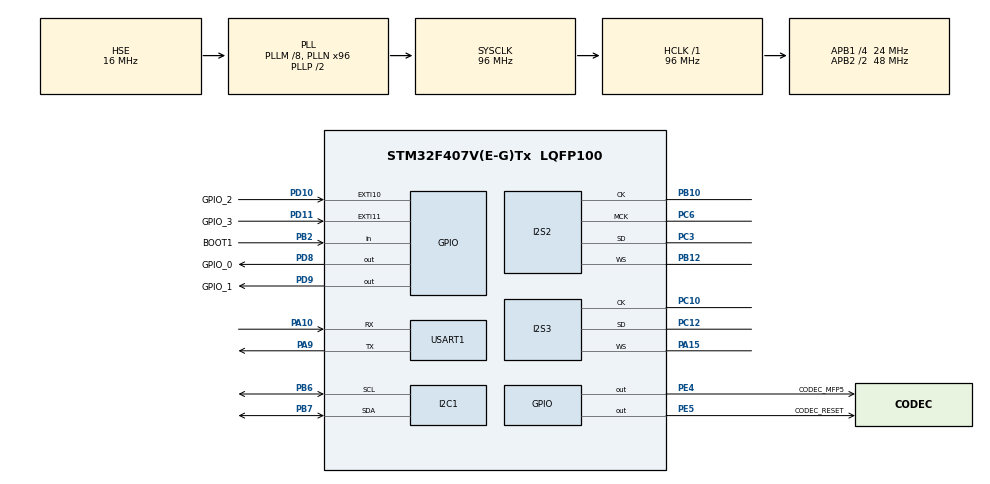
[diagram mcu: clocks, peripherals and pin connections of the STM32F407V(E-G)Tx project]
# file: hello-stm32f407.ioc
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Dma.Request0=SPI2_TX
Dma.Request1=SPI3_RX
Dma.SPI2_TX.0.Direction=DMA_MEMORY_TO_PERIPH
Dma.SPI2_TX.0.FIFOMode=DMA_FIFOMODE_DISABLE
Dma.SPI2_TX.0.Instance=DMA1_Stream4
Dma.SPI2_TX.0.MemDataAlignment=DMA_MDATAALIGN_HALFWORD
Dma.SPI2_TX.0.MemInc=DMA_MINC_ENABLE
Dma.SPI2_TX.0.Mode=DMA_CIRCULAR
Dma.SPI2_TX.0.PeriphDataAlignment=DMA_PDATAALIGN_HALFWORD
Dma.SPI2_TX.0.PeriphInc=DMA_PINC_DISABLE
Dma.SPI2_TX.0.Priority=DMA_PRIORITY_LOW
Dma.SPI3_RX.1.Direction=DMA_PERIPH_TO_MEMORY
Dma.SPI3_RX.1.FIFOMode=DMA_FIFOMODE_DISABLE
Dma.SPI3_RX.1.Instance=DMA1_Stream0
Dma.SPI3_RX.1.MemDataAlignment=DMA_MDATAALIGN_HALFWORD
Dma.SPI3_RX.1.MemInc=DMA_MINC_ENABLE
Dma.SPI3_RX.1.Mode=DMA_CIRCULAR
Dma.SPI3_RX.1.PeriphDataAlignment=DMA_PDATAALIGN_HALFWORD
Dma.SPI3_RX.1.PeriphInc=DMA_PINC_DISABLE
Dma.SPI3_RX.1.Priority=DMA_PRIORITY_LOW
I2S2.AudioFreq=I2S_AUDIOFREQ_44K
I2S2.DataFormat=I2S_DATAFORMAT_32B
I2S2.ErrorAudioFreq=6.53 %
I2S2.FullDuplexMode=I2S_FULLDUPLEXMODE_DISABLE
I2S2.Instance=SPI$Index
I2S2.RealAudioFreq=46.875 KHz
I2S2.VirtualMode=I2S_MODE_MASTER
I2S3.AudioFreq=I2S_AUDIOFREQ_44K
I2S3.CPOL=I2S_CPOL_LOW
I2S3.DataFormat=I2S_DATAFORMAT_32B
I2S3.ErrorAudioFreq=-1.66 %
I2S3.FullDuplexMode=I2S_FULLDUPLEXMODE_DISABLE
I2S3.Instance=SPI$Index
I2S3.Mode=I2S_MODE_SLAVE_RX
I2S3.RealAudioFreq=43.269 KHz
I2S3.VirtualMode=I2S_MODE_SLAVE
Mcu.Family=STM32F4
Mcu.Name=STM32F407V(E-G)Tx
Mcu.Package=LQFP100
NVIC.DMA1_Stream0_IRQn=true\:0\:0\:false\:false\:true\:false\:true
NVIC.DMA1_Stream4_IRQn=true\:0\:0\:false\:false\:true\:false\:true
NVIC.EXTI15_10_IRQn=true\:0\:0\:false\:false\:true\:true\:true
NVIC.PriorityGroup=NVIC_PRIORITYGROUP_4
NVIC.USART1_IRQn=true\:0\:0\:false\:false\:true\:true\:true
PA10.Mode=Asynchronous
PA10.Signal=USART1_RX
PA13.Mode=Serial_Wire
PA13.Signal=SYS_JTMS-SWDIO
PA14.Mode=Serial_Wire
PA14.Signal=SYS_JTCK-SWCLK
PA15.Mode=Half_Duplex_Slave
PA15.Signal=I2S3_WS
PA9.Mode=Asynchronous
PA9.Signal=USART1_TX
PB10.Mode=Half_Duplex_Master
PB10.Signal=I2S2_CK
PB12.Mode=Half_Duplex_Master
PB12.Signal=I2S2_WS
PB2.GPIO_Label=BOOT1
PB2.Signal=GPIO_Input
PB6.Mode=I2C
PB6.Signal=I2C1_SCL
PB7.Mode=I2C
PB7.Signal=I2C1_SDA
PC10.Mode=Half_Duplex_Slave
PC10.Signal=I2S3_CK
PC12.Mode=Half_Duplex_Slave
PC12.Signal=I2S3_SD
PC3.Mode=Half_Duplex_Master
PC3.Signal=I2S2_SD
PC6.Mode=Master_Clock_Activated
PC6.Signal=I2S2_MCK
PD10.GPIO_Label=GPIO_2
PD10.GPIO_ModeDefaultEXTI=GPIO_MODE_IT_FALLING
PD10.GPIO_PuPd=GPIO_PULLUP
PD10.Signal=GPXTI10
PD11.GPIO_Label=GPIO_3
PD11.GPIO_ModeDefaultEXTI=GPIO_MODE_IT_FALLING
PD11.GPIO_PuPd=GPIO_PULLUP
PD11.Signal=GPXTI11
PD8.GPIO_Label=GPIO_0
PD8.Signal=GPIO_Output
PD9.GPIO_Label=GPIO_1
PD9.Signal=GPIO_Output
PE4.GPIO_Label=CODEC_MFP5
PE4.Signal=GPIO_Output
PE5.GPIO_Label=CODEC_RESET
PE5.GPIO_PuPd=GPIO_NOPULL
PE5.Signal=GPIO_Output
PH0-OSC_IN.Mode=HSE-External-Oscillator
PH0-OSC_IN.Signal=RCC_OSC_IN
PH1-OSC_OUT.Mode=HSE-External-Oscillator
PH1-OSC_OUT.Signal=RCC_OSC_OUT
ProjectManager.HeapSize=0x200
ProjectManager.StackSize=0x400
ProjectManager.TargetToolchain=STM32CubeIDE
RCC.48MHZClocksFreq_Value=48000000
RCC.AHBFreq_Value=96000000
RCC.APB1CLKDivider=RCC_HCLK_DIV4
RCC.APB1Freq_Value=24000000
RCC.APB1TimFreq_Value=48000000
RCC.APB2CLKDivider=RCC_HCLK_DIV2
RCC.APB2Freq_Value=48000000
RCC.APB2TimFreq_Value=96000000
RCC.CortexFreq_Value=96000000
RCC.HCLKFreq_Value=96000000
RCC.HSE_VALUE=16000000
RCC.HSI_VALUE=16000000
RCC.LSE_VALUE=32768
RCC.PLLI2SN=72
RCC.PLLM=8
RCC.PLLN=96
RCC.PLLSourceVirtual=RCC_PLLSOURCE_HSE
RCC.SYSCLKFreq_VALUE=96000000
RCC.SYSCLKSource=RCC_SYSCLKSOURCE_PLLCLK
RCC.VCOOutputFreq_Value=192000000
USART1.VirtualMode=VM_ASYNC
board=custom

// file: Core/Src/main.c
/* USER CODE BEGIN Header */
/**
  ******************************************************************************
  * @file           : main.c
  * @brief          : Main program body
  ******************************************************************************
  * @attention
  *
  * <h2><center>&copy; Copyright (c) 2020 STMicroelectronics.
  * All rights reserved.</center></h2>
  *
  * This software component is licensed by ST under BSD 3-Clause license,
  * the "License"; You may not use this file except in compliance with the
  * License. You may obtain a copy of the License at:
  *                        opensource.org/licenses/BSD-3-Clause
  *
  ******************************************************************************
  */
/* USER CODE END Header */
#include "main.h"

/* USER CODE BEGIN Includes */
#include <math.h>
#include <stdio.h>
#include <stdint.h>
#include <stdlib.h>

#define ARM_MATH_CM4
#include "arm_math.h"

/* USER CODE END Includes */

I2C_HandleTypeDef hi2c1;

I2S_HandleTypeDef hi2s2;
I2S_HandleTypeDef hi2s3;
DMA_HandleTypeDef hdma_spi2_tx;
DMA_HandleTypeDef hdma_spi3_rx;

UART_HandleTypeDef huart1;

void SystemClock_Config(void);
static void MX_GPIO_Init(void);
static void MX_DMA_Init(void);
static void MX_I2C1_Init(void);
static void MX_I2S2_Init(void);
static void MX_USART1_UART_Init(void);
static void MX_I2S3_Init(void);

/* USER CODE BEGIN 0 */

enum Mode {
	// Same synthesizer fed into both outputs, inputs ignored, no filter
	TEST0a,
	// Two synthesizers fed into both outputs, inputs ignored, no filter
	TEST0b,
	// Same synthesizer fed into filters left and right
	TEST1,
	// Left input through filters and fed to left/right outputs
	TEST2,
	// Left input modulated by software quadrature LO and then through filters and
	// fed to left/right outputs (Weaver Test)
	TEST3,
	TX,
	RX
};

enum Mode mode = TEST2;

// COS synthesizer
// Largest value for a 32-bit signed number
float amp = 0x7fffffff;
static float gain = 1.0;
// Sample frequency
static const int fs = 44100;

// ----- cos synthesizer -----------------------------------------------------
//
// Size of look-up-table
static const int lut_size = 256;
static float lut[256];
// The phase step through the synthesis LUT on each cycle, based on frequency
static float lut_phase_step = 0;
// Tracking phase throughout 0->2PI
static float lut_phase_I = 0;
static float lut_phase_Q = 0;
static const float pi = 3.1415926;
static const float two_pi = 2.0 * 3.1415926;
static float lut_size_by_two_pi;

// Populate synthesizer LUT
static void setupSynth() {
	lut_size_by_two_pi = (float)lut_size / two_pi;
	for (int i = 0; i < lut_size; i++) {
		float t = (float)i / (float)lut_size;
		// TODO: Understand the overflow issue here
		float c = cos(t * two_pi) * 0.95f;
		lut[i] = c;
	}
}

// Sets the frequency of the internal cos() synthesizer
static void setSynthFreq(int freqHz) {
	lut_phase_step = ((float)freqHz / (float)fs) * two_pi;
	lut_phase_Q = pi / 2.0;
	// Q lags I by 90 degrees
	lut_phase_I = 0;
}

// Takes a phase from 0->2PI and converts it to index from 0->lut_size
static int convertPhaseToIndex(float phase) {
	int i = phase * lut_size_by_two_pi;
	return i;
}

static float getSynthI() {
	return lut[convertPhaseToIndex(lut_phase_I)];
}

static float getSynthQ() {
	return lut[convertPhaseToIndex(lut_phase_Q)];
}

// Advances the synthesizer to the next value, handling wrap-around as needed
static void incrementSynth() {
	lut_phase_I += lut_phase_step;
	lut_phase_Q += lut_phase_step;
	// Handle wrap-arounds
	if (lut_phase_I >= two_pi) {
		lut_phase_I -= two_pi;
	}
	if (lut_phase_Q >= two_pi) {
		lut_phase_Q -= two_pi;
	}
}

// Balance between I/Q.  This was determined experimentally.
volatile float balanceAdjust = 1.0;
// Phase adjust (I/Q leakage).  This was determined experimentally
volatile float phaseAdjust = -0.000;
//
volatile int offsetAdjust = 0;

#define FILTER_TAP_NUM 101
// This is the number of samples that we process in each DMA cycle
#define FILTER_BLOCK_SIZE 256
static const int blockSize = FILTER_BLOCK_SIZE;

extern float hilbert_plus_45_filter_taps[FILTER_TAP_NUM];
extern float hilbert_minus_45_filter_taps[FILTER_TAP_NUM];
extern float lpf_filter_taps[FILTER_TAP_NUM];

static float filter_state_I[FILTER_TAP_NUM + FILTER_BLOCK_SIZE - 1];
static float filter_state_Q[FILTER_TAP_NUM + FILTER_BLOCK_SIZE - 1];

static arm_fir_instance_f32 filter_I;
static arm_fir_instance_f32 filter_Q;
static arm_rfft_fast_instance_f32 fft_0;

// This where the DMA happens.  We multiply by 8 to address:
// - The fact that we have left and right data moving through at the same time
// - Each sample takes up two 16-bit words
// - There is space for two blocks.  The DMA works on one block while
//   the other block is being processed, and then we flip to the other side.
//
static volatile uint16_t out_data[FILTER_BLOCK_SIZE * 8];
static volatile uint16_t in_data[FILTER_BLOCK_SIZE * 8];

// This keeps track of which output block is currently *not* being
// transferred to the I2S interface.  Buffer filling should happen
// on this block.
static volatile int outBlockFree = 0;

volatile uint32_t maxBucket;
volatile float maxFreq;
volatile float maxMag;

volatile uint32_t max2Bucket;
volatile float max2Freq;
volatile float max2Mag;

volatile int32_t maxInputISig;
volatile int32_t maxInputQSig;

volatile int32_t maxOutputISig;
volatile int32_t maxOutputQSig;

#define FFT_SIZE FILTER_BLOCK_SIZE
const int fftSize = FFT_SIZE;
volatile float mags[FFT_SIZE / 2 - 1];

// This reads half of the inbound data from the DMA buffer.  This is
// called by the DMA interrupt at the half-way point through the
// entire DMA buffer.
static void moveIn(int inBlock, int outBlockFree) {

	int in_ptr;
	if (inBlock == 0) {
		in_ptr = 0;
	} else {
		in_ptr = blockSize * 4;
	}

	int out_ptr;
	if (outBlockFree == 0) {
		out_ptr = 0;
	} else {
		out_ptr = blockSize * 4;
	}

	int32_t sampleI, sampleQ;
	uint16_t hi;
	uint16_t lo;
	float filterInI[FILTER_BLOCK_SIZE];
	float filterOutI[FILTER_BLOCK_SIZE];
	float filterInQ[FILTER_BLOCK_SIZE];
	float filterOutQ[FILTER_BLOCK_SIZE];
	float fftIn[FILTER_BLOCK_SIZE];
	float fftOut[FILTER_BLOCK_SIZE];

	for (int i = 0; i < blockSize; i++) {

		uint16_t s;

		// Read the left channel
		// Load the high end of the sample into the high end of the 32-bit number
		s = in_data[in_ptr++];
		sampleI = s;
		// Shift up
		sampleI = sampleI << 16;
		// Add low end of sample
		s = in_data[in_ptr++];
		sampleI |= s;

		if (abs(sampleI) > maxInputISig) {
			maxInputISig = abs(sampleI);
		}

		// Read the right channel
		// Load the high end of the sample into the high end of the 32-bit number
		s = in_data[in_ptr++];
		sampleQ = s;
		// Shift up
		sampleQ = sampleQ << 16;
		// Add low end of sample
		s = in_data[in_ptr++];
		sampleQ |= s;

		if (abs(sampleQ) > maxInputQSig) {
			maxInputQSig = abs(sampleQ);
		}

		fftIn[i] = (float)sampleI;

		if (mode == TEST0a) {
			float a = getSynthI();
			// Feed the synthesized wave into the output
			filterOutI[i] = amp * a;
			filterOutQ[i] = amp * a;
		} else if (mode == TEST0b) {
			// Feed the synthesized wave into the output
			filterOutI[i] = amp * getSynthI();
			filterOutQ[i] = amp * getSynthQ();
		} else if (mode == TEST1) {
			// Feed the synthesized wave unto both filters
			filterInI[i] = amp * getSynthI();
			filterInQ[i] = amp * getSynthI();
		} else if (mode == TEST2) {
			// Feed the input wave unto both filters
			// NOTE: Left channel being fed to both filters!
			filterInI[i] = sampleI;
			filterInQ[i] = sampleI;
		} else if (mode == TEST3) {
			// Input sample modulated by software LO
			filterInI[i] = sampleI * getSynthI();
			filterInQ[i] = sampleI * getSynthQ();
		} else if (mode == RX) {
			// Allow a small amount of the Q signal into the I for phase adjust
			filterInI[i] = (float)sampleI + (float)sampleQ * phaseAdjust;
			filterInQ[i] = (float)sampleQ + (float)sampleI * phaseAdjust;
		} else if (mode == TX) {
			// Multiply I/Q by the first stage of modulation and load into the LPF
			// SAME INPUT BEING USED ON BOTH SIDES
			filterInI[i] = (float)sampleI * getSynthI();
			filterInQ[i] = (float)sampleI * getSynthQ();
		}

		// Move the modulation synthesizer forward
		incrementSynth();
	}

	// Run the FFT.  This creates a result with fftSize / 2 complex values
	// (assuming spectral symmetry)
	arm_rfft_fast_f32(&fft_0, fftIn, fftOut, 0);
	// Get the magnitude data.  Note that the first pair of values from
	// the FFT is ignored (real DC, real N/2)
	arm_cmplx_mag_f32(fftOut + 2, mags, fftSize / 2 - 1);

	// Get the largest two buckets
	maxBucket = 0;
	maxMag = 0;
	maxFreq = 0;
	max2Bucket = 0;
	max2Mag = 0;
	max2Freq = 0;

	for (int i = 0; i < fftSize / 2 - 1; i++) {
		if (mags[i] >= maxMag) {
			// Move previous max down to second place
			max2Mag = maxMag;
			max2Bucket = maxBucket;
			// Track the new first place			}
			maxMag = mags[i];
			maxBucket = i;
		} else if (mags[i] >= max2Mag) {
			max2Mag = mags[i];
			max2Bucket = i;
		}
	}

	float resolution = (float)fs / (float)fftSize;
	maxFreq = (float)(maxBucket + 1) * resolution;
	max2Freq = (float)(max2Bucket + 1) * resolution;

	// Apply the FIR filter
	if (mode != TEST0a && mode != TEST0b) {
		arm_fir_f32(&filter_I, filterInI, filterOutI, blockSize);
		arm_fir_f32(&filter_Q, filterInQ, filterOutQ, blockSize);
	}

	// Move things into the DMA outbound area
	for (int i = 0; i < blockSize; i++) {

		if (mode == TEST0a || mode == TEST0b) {
			sampleI = filterOutI[i];
			sampleQ = filterOutQ[i];
		} else if (mode == TEST1 || mode == TEST2 || mode == TEST3) {
			sampleI = (balanceAdjust * filterOutI[i]) + (phaseAdjust * filterOutQ[i]);
			sampleQ = filterOutQ[i] + (phaseAdjust * filterOutI[i]);
		} else if (mode == RX) {
			// This looks like +USB (LSB is canceled)
			sampleI = (0.5 * balanceAdjust * filterOutI[i]) - (0.5 * filterOutQ[i]);
			sampleQ = sampleI;
		} else if (mode == TX) {
			// Inject a small amount of Q into the I channel for phase adjustment
			sampleI = (balanceAdjust * filterOutI[i]) + (phaseAdjust * filterOutQ[i]);
			// Inject a small amount of I into the Q channel for phase adjustment
			sampleQ = (filterOutQ[i]) + (phaseAdjust * filterOutI[i]);
		}

		// Transfer filtered sample to left output
		hi = (sampleI >> 16) & 0xffff;
		lo = (sampleI & 0xffff);
		out_data[out_ptr++] = hi;
		out_data[out_ptr++] = lo;

		if (abs(sampleI) > maxOutputISig) {
			maxOutputISig = abs(sampleI);
		}

		// Transfer delayed data to right output
		hi = (sampleQ >> 16) & 0xffff;
		lo = (sampleQ & 0xffff);
		out_data[out_ptr++] = hi;
		out_data[out_ptr++] = lo;

		if (abs(sampleQ) > maxOutputQSig) {
			maxOutputQSig = abs(sampleQ);
		}
	}
}

// Called at the half-way point.  First half of the DMA area is available
// for updating after this call.
void HAL_I2S_TxHalfCpltCallback (I2S_HandleTypeDef * hi2s) {
	outBlockFree = 0;
}

// Called at the end point.  Second half of the DMA area if available
// for updating after this call
void HAL_I2S_TxCpltCallback (I2S_HandleTypeDef * hi2s) {
	outBlockFree = 1;
}

// Called at the half-way point.  Fills in the first half of the DMA area.
void HAL_I2S_RxHalfCpltCallback (I2S_HandleTypeDef * hi2s) {
	moveIn(0, outBlockFree);
}

// Called at the end point.  Fills in the second half of the DMA area.
void HAL_I2S_RxCpltCallback (I2S_HandleTypeDef * hi2s) {
	moveIn(1, outBlockFree);
}

HAL_StatusTypeDef writeCodec(uint8_t addr, uint8_t data) {
	uint8_t devAddr = 0x30;
	HAL_StatusTypeDef status = HAL_I2C_Mem_Write(&hi2c1, (uint16_t)(devAddr), addr, 1, &data, 1, 10);
	if (status != HAL_OK) {
		printf("Error on I2C write\r\n");
	}
	return status;
}

uint8_t readCodec(uint8_t addr) {
	uint8_t devAddr = 0x30;
	uint8_t data = 0;
	HAL_I2C_Mem_Read(&hi2c1, (uint16_t)(devAddr), addr, 1, &data, 1, 10);
	return data;
}

extern void CppMain_setup();

#define WS_Pin GPIO_PIN_15
#define WS_Pin_Port GPIOA

/* USER CODE END 0 */

int main(void)
{

  /* MCU Configuration--------------------------------------------------------*/

  /* Reset of all peripherals, Initializes the Flash interface and the Systick. */
   HAL_Init();

  /* Configure the system clock */
  SystemClock_Config();

  /* Initialize all configured peripherals */
  MX_GPIO_Init();
  MX_DMA_Init();
  MX_I2C1_Init();
  MX_I2S2_Init();
  MX_USART1_UART_Init();
  MX_I2S3_Init();
  /* USER CODE BEGIN 2 */

	// Initialize the filters
//	arm_fir_init_f32(&filter_I, FILTER_TAP_NUM, lpf_filter_taps, filter_state_I, FILTER_BLOCK_SIZE);
//	arm_fir_init_f32(&filter_Q, FILTER_TAP_NUM, lpf_filter_taps, filter_state_Q, FILTER_BLOCK_SIZE);
	arm_fir_init_f32(&filter_I, FILTER_TAP_NUM, hilbert_plus_45_filter_taps, filter_state_I, FILTER_BLOCK_SIZE);
	arm_fir_init_f32(&filter_Q, FILTER_TAP_NUM, hilbert_minus_45_filter_taps, filter_state_Q, FILTER_BLOCK_SIZE);

	arm_rfft_fast_init_f32(&fft_0, 256);

	HAL_StatusTypeDef status;
	uint8_t devAddr = 0x60 << 1;
	uint8_t addr = 0;
	uint8_t data = 0;

	// ----- SI5351 INIT --------------------------------------------------
	// Make sure the device is alive
	status = HAL_I2C_IsDeviceReady(&hi2c1, (uint16_t)(devAddr), 2, 2);
	if (status != HAL_OK) // HAL_ERROR or HAL_BUSY or HAL_TIMEOUT
		printf("Problem with Si5351\r\n");

	CppMain_setup();

	setupSynth();
	setSynthFreq(2000);

	// ----- CODEC INIT ---------------------------------------------------
	// Hardware reset the CODEC
	HAL_GPIO_WritePin(CODEC_RESET_GPIO_Port, CODEC_RESET_Pin, 1);
	HAL_GPIO_WritePin(CODEC_RESET_GPIO_Port, CODEC_RESET_Pin, 0);
	HAL_GPIO_WritePin(CODEC_RESET_GPIO_Port, CODEC_RESET_Pin, 1);

	HAL_Delay(2);

	// NOTE: TLV320AIC3204 uses standard 7-bit convention (no shifting needed)
	devAddr = 0x30;
	addr = 0;
	data = 0;

	// Make sure the device is alive
	status = HAL_I2C_IsDeviceReady(&hi2c1, (uint16_t)(devAddr), 2, 2);
	if (status != HAL_OK) // HAL_ERROR or HAL_BUSY or HAL_TIMEOUT
		printf("Problem with CODEC\r\n");

	// Select page 0
	writeCodec(0, 0);
	// Software reset
	writeCodec(1, 1);

	HAL_Delay(2);

	// Select page 0
	writeCodec(0, 0);
  	// Configure MFP5 as GPIO input
	writeCodec(52, 0b00001000);

	// ===== Sanity check on CODEC =====
  	// Set GPIO to HI
	HAL_GPIO_WritePin(CODEC_MFP5_GPIO_Port, CODEC_MFP5_Pin, 1);
	// Read back
	addr = 52;
	data = 0;
  	status = HAL_I2C_Mem_Read(&hi2c1, (uint16_t)(devAddr), addr, 1, &data, 1, 100);
  	if (data != 10)
  		printf("Problem\r\n");
  	// Set GPIO to LO
	HAL_GPIO_WritePin(CODEC_MFP5_GPIO_Port, CODEC_MFP5_Pin, 0);
	// Read back
  	status = HAL_I2C_Mem_Read(&hi2c1, (uint16_t)(devAddr), addr, 1, &data, 1, 100);
  	if (data != 8)
  		printf("Problem\r\n");

  	int receiveMode = 0;

  	// ===== DAC SETUP ======
	// Select page 0
	writeCodec(0x00, 0x00);
	// Clock settings register 1, Configure source of CODEC_CLKIN=MCLK
	writeCodec(0x04, 0b00000000);
	// PLL is powered down (not used)
	writeCodec(0x05, 0b00000000);

	// Setup NDAC (on, divide by 1)
	writeCodec(0x0b, 0x81);
	// Setup MDAC (on, divide by 2)
	writeCodec(0x0c, 0x82);
	// Set OSR of DAC to 128
	writeCodec(0x0d, 0x00);
	writeCodec(0x0e, 0x80);

	// Setup NADC (on, divide by 1) [Pg. 99]
	writeCodec(0x12, 0x81);
	// Setup MADC (on, divide by 2) [Pg. 99]
	writeCodec(0x13, 0x82);
	// Set OSR of ADC to 128
	writeCodec(0x14, 0b10000000);

	// Audio interface.  I2S mode, word length=32, BCLK is input, WCLK is input, DOUT not HI-Z
	writeCodec(0x1b, 0b00110000);
	// Data offset by 0 BCLK (default)
	writeCodec(0x1c, 0b00000000);
	// Default bit clock polarity, BDIV_CLKIN=DAC_CLK
	writeCodec(0x1d, 0b00000000);
	// BCLK-N divider powered down
	writeCodec(0x1e, 0b00000000);
	// Audio interface setting register 5 -
	writeCodec(0x20, 0x00);
	// DOUT/MFP2 Control [Pg. 108]
	writeCodec(0x35, 0b00010010);
	// Setup DAC mode = PRB_P8, which is:
	//   Interpolation filter B
	//   Stereo
	//   No IIR
	//   4 biquads
	//   DRC on
	//   3D off
	//   No beep generation
	writeCodec(0x3c, 0b00001000);
	// Setup ADC mode.  Use PRB_R2 (First-Order IIR, AGC, Filter A, 6 biquads)
	writeCodec(0x3d, 0b00000010);

	// Select page 1
	writeCodec(0x00, 0x01);
	// Disable weak connection of AVdd with DVdd in presence of external AVdd supply
	writeCodec(0x01, 0b00001000);
	// DVdd/AVdd LDO nominally 1.72V, analog blocks enabled, Avdd LDO powered up
	writeCodec(0x02, 0b00000001);
	// Analog input quick-charging configuration  Input power-up time is 6.4ms (for ADC)
	writeCodec(0x47, 0b00110010);
	// Set MicPGA startup delay to 3.1ms
	writeCodec(0x47, 0x32);
	// Reference power-up configuration register.  Reference powers up in 40ms when
	// analog blocks are on.
	writeCodec(0x7b, 0b00000001);
	// ADC Power Tune PTM_R4
	writeCodec(0x3d, 0x00);

	// Select page 1
	writeCodec(0x00, 0x01);
	// Soft routing 0, De-pop: 5 time constants, 6k resistance
	writeCodec(0x14, 0b00100101);
	if (receiveMode) {
		// Route LDAC/RDAC to HPL/HPR
		writeCodec(0x0c, 0b00001000);
		writeCodec(0x0d, 0b00001000);
		// Nothing routed to line out
		writeCodec(0x0e, 0b00000000);
		writeCodec(0x0f, 0b00000000);

	} else {
		// Not routing DAC to HPL/HPR
		writeCodec(0x0c, 0b00000000);
		writeCodec(0x0d, 0b00000000);
		// Route DAC to line out
		writeCodec(0x0e, 0b00001000);
		writeCodec(0x0f, 0b00001000);
	}
	// Set the DAC PTM mode to PTM_P3/P4
	writeCodec(0x03, 0x00);
	writeCodec(0x04, 0x00);
	if (receiveMode) {
		// Unmute HPL/HPR driver (0b01), set 0dB gain
		// Here is a level control that is not supposed to be used as
		// the regular volume control.
		// Range: 0b111010 -> 0b011101
		writeCodec(0x10, 0b00111010);
		writeCodec(0x11, 0b00111010);
	} else {
		// Unmute LOL/LOR driver, set gain
		writeCodec(0x12, 0b00000000);
		writeCodec(0x13, 0b00000000);
	}
  	// Power configuration.  Output of HPL/HPR powered from LDOIN, range is 1.8V to 3.6V
	writeCodec(0x0a, 0b00000011);
	// Overcurrent detection on, debounced = 64ms, driver shut down
	writeCodec(0x0b, 0b00011001);
	if (receiveMode) {
		// Power up the HPL/HPR, power down LOL/LOR
		writeCodec(0x09, 0b00110000);
	} else {
		// No power to the HPL/HPR, power up LOL/LOR
		writeCodec(0x09, 0b00001100);
	}

	HAL_Delay(2500);

  	// Select page 0
	writeCodec(0x00, 0x00);
	// [VOLUME CONTROL]
	// Left DAC digital volume
	writeCodec(0x41, 0);
	// [VOLUME CONTROL]
	// Right DAC digital volume
	writeCodec(0x42, 0);
  	// Power LDAC/RDAC, soft-stepping disabled
	writeCodec(0x3f, 0b11010110);
	// Unmute
	writeCodec(0x40, 0b00000000);

	// Configure ADC [Pg. 90 for example]
  	// Select page 1
	writeCodec(0x00, 0x01);
	if (receiveMode) {
		// Route IN1L to left Mic PGA with 20K input impedance [Pg. 135]
		writeCodec(0x34, 0x80);
		// Route IN1R to right Mic PGA with input impedance of 20K [Pg. 135]
		writeCodec(0x37, 0x80);
	} else {
		// Route IN2L to left Mic PGA with 20K input impedance [Pg. 135]
		writeCodec(0x34, 0b00100000);
		// TURN OFF INPUT:
		//writeCodec(0x34, 0b00000000);
		// Nothing rounted to right PGA
		writeCodec(0x37, 0x00);
	}
	// Route Common Mode to LEFT_M with impedance of 20K
	writeCodec(0x36, 0x80);
	// Route Common Mode to RIGHT_M with impedance of 20K
	writeCodec(0x39, 0x80);

	// Unmute left MICPGA, set gain to 6dB (given that input impedance is 20k => 0dB)
	// [Pg. 137]
	writeCodec(0x3b, 0x0c);
	// Unmute right MICPGA, set gain to 6dB (given that input impedance is 20k => 0dB)
	// [Pg. 137]
	writeCodec(0x3c, 0x0c);

	// Page 0
	writeCodec(0x00, 0x00);
	// Power up left and right ADC channels, digital mic off, 1 gain step per ADC clock [Pg. 115]
	writeCodec(0x51, 0b11000000);
	// Unmute left and right digital volume controls.  ADC fine gain adjust = 0dB [Pg. 115]
	writeCodec(0x52, 0b00000000);

	// ADC channel volume control - left (should be 0dB) [Pg. 116]
	writeCodec(0x53, 0b00100110);
	// ADC channel volume control - right (should be 0dB)
	writeCodec(0x54, 0b00100110);

	// *******************************************
	// TEMPORARY: Turn on loopback.  This routes ADC output to DAC input. [Pg. 101]
	//writeCodec(0x00, 0x00);
	//data = readCodec(0x1d);
	//data |= 0b00010000;
	//writeCodec(0x1d, data);
	// *******************************************

    // Initialize DMA
	// IPORTANT: Because of a bug in STM32F407, we must always enable the
	// slave I2S port before the master.
	HAL_GPIO_WritePin(GPIOA, WS_Pin, GPIO_PIN_SET);
    HAL_I2S_Receive_DMA(&hi2s3, in_data, blockSize * 4);
    // This is the master:
    HAL_I2S_Transmit_DMA(&hi2s2, out_data, blockSize * 4);

  /* USER CODE END 2 */

  /* Infinite loop */
  /* USER CODE BEGIN WHILE */
  while (1)
  {
	  CppMain_loop();
    /* USER CODE END WHILE */

  }
}

void SystemClock_Config(void)
{
  RCC_OscInitTypeDef RCC_OscInitStruct = {0};
  RCC_ClkInitTypeDef RCC_ClkInitStruct = {0};
  RCC_PeriphCLKInitTypeDef PeriphClkInitStruct = {0};

  /** Configure the main internal regulator output voltage
  */
  __HAL_RCC_PWR_CLK_ENABLE();
  __HAL_PWR_VOLTAGESCALING_CONFIG(PWR_REGULATOR_VOLTAGE_SCALE1);
  /** Initializes the RCC Oscillators according to the specified parameters
  * in the RCC_OscInitTypeDef structure.
  */
  RCC_OscInitStruct.OscillatorType = RCC_OSCILLATORTYPE_HSE;
  RCC_OscInitStruct.HSEState = RCC_HSE_ON;
  RCC_OscInitStruct.PLL.PLLState = RCC_PLL_ON;
  RCC_OscInitStruct.PLL.PLLSource = RCC_PLLSOURCE_HSE;
  RCC_OscInitStruct.PLL.PLLM = 8;
  RCC_OscInitStruct.PLL.PLLN = 96;
  RCC_OscInitStruct.PLL.PLLP = RCC_PLLP_DIV2;
  RCC_OscInitStruct.PLL.PLLQ = 4;
  if (HAL_RCC_OscConfig(&RCC_OscInitStruct) != HAL_OK)
  {
    Error_Handler();
  }
  /** Initializes the CPU, AHB and APB buses clocks
  */
  RCC_ClkInitStruct.ClockType = RCC_CLOCKTYPE_HCLK|RCC_CLOCKTYPE_SYSCLK
                              |RCC_CLOCKTYPE_PCLK1|RCC_CLOCKTYPE_PCLK2;
  RCC_ClkInitStruct.SYSCLKSource = RCC_SYSCLKSOURCE_PLLCLK;
  RCC_ClkInitStruct.AHBCLKDivider = RCC_SYSCLK_DIV1;
  RCC_ClkInitStruct.APB1CLKDivider = RCC_HCLK_DIV4;
  RCC_ClkInitStruct.APB2CLKDivider = RCC_HCLK_DIV2;

  if (HAL_RCC_ClockConfig(&RCC_ClkInitStruct, FLASH_LATENCY_3) != HAL_OK)
  {
    Error_Handler();
  }
  PeriphClkInitStruct.PeriphClockSelection = RCC_PERIPHCLK_I2S;
  PeriphClkInitStruct.PLLI2S.PLLI2SN = 72;
  PeriphClkInitStruct.PLLI2S.PLLI2SR = 2;
  if (HAL_RCCEx_PeriphCLKConfig(&PeriphClkInitStruct) != HAL_OK)
  {
    Error_Handler();
  }
}

static void MX_I2C1_Init(void)
{

  hi2c1.Instance = I2C1;
  hi2c1.Init.ClockSpeed = 100000;
  hi2c1.Init.DutyCycle = I2C_DUTYCYCLE_2;
  hi2c1.Init.OwnAddress1 = 0;
  hi2c1.Init.AddressingMode = I2C_ADDRESSINGMODE_7BIT;
  hi2c1.Init.DualAddressMode = I2C_DUALADDRESS_DISABLE;
  hi2c1.Init.OwnAddress2 = 0;
  hi2c1.Init.GeneralCallMode = I2C_GENERALCALL_DISABLE;
  hi2c1.Init.NoStretchMode = I2C_NOSTRETCH_DISABLE;
  if (HAL_I2C_Init(&hi2c1) != HAL_OK)
  {
    Error_Handler();
  }

}

static void MX_I2S2_Init(void)
{

  hi2s2.Instance = SPI2;
  hi2s2.Init.Mode = I2S_MODE_MASTER_TX;
  hi2s2.Init.Standard = I2S_STANDARD_PHILIPS;
  hi2s2.Init.DataFormat = I2S_DATAFORMAT_32B;
  hi2s2.Init.MCLKOutput = I2S_MCLKOUTPUT_ENABLE;
  hi2s2.Init.AudioFreq = I2S_AUDIOFREQ_44K;
  hi2s2.Init.CPOL = I2S_CPOL_LOW;
  hi2s2.Init.ClockSource = I2S_CLOCK_PLL;
  hi2s2.Init.FullDuplexMode = I2S_FULLDUPLEXMODE_DISABLE;
  if (HAL_I2S_Init(&hi2s2) != HAL_OK)
  {
    Error_Handler();
  }

}

static void MX_I2S3_Init(void)
{

  hi2s3.Instance = SPI3;
  hi2s3.Init.Mode = I2S_MODE_SLAVE_RX;
  hi2s3.Init.Standard = I2S_STANDARD_PHILIPS;
  hi2s3.Init.DataFormat = I2S_DATAFORMAT_32B;
  hi2s3.Init.MCLKOutput = I2S_MCLKOUTPUT_DISABLE;
  hi2s3.Init.AudioFreq = I2S_AUDIOFREQ_44K;
  hi2s3.Init.CPOL = I2S_CPOL_LOW;
  hi2s3.Init.ClockSource = I2S_CLOCK_PLL;
  hi2s3.Init.FullDuplexMode = I2S_FULLDUPLEXMODE_DISABLE;
  if (HAL_I2S_Init(&hi2s3) != HAL_OK)
  {
    Error_Handler();
  }

}

static void MX_USART1_UART_Init(void)
{

  huart1.Instance = USART1;
  huart1.Init.BaudRate = 115200;
  huart1.Init.WordLength = UART_WORDLENGTH_8B;
  huart1.Init.StopBits = UART_STOPBITS_1;
  huart1.Init.Parity = UART_PARITY_NONE;
  huart1.Init.Mode = UART_MODE_TX_RX;
  huart1.Init.HwFlowCtl = UART_HWCONTROL_NONE;
  huart1.Init.OverSampling = UART_OVERSAMPLING_16;
  if (HAL_UART_Init(&huart1) != HAL_OK)
  {
    Error_Handler();
  }

}

static void MX_DMA_Init(void)
{

  /* DMA controller clock enable */
  __HAL_RCC_DMA1_CLK_ENABLE();

  /* DMA interrupt init */
  /* DMA1_Stream0_IRQn interrupt configuration */
  HAL_NVIC_SetPriority(DMA1_Stream0_IRQn, 0, 0);
  HAL_NVIC_EnableIRQ(DMA1_Stream0_IRQn);
  /* DMA1_Stream4_IRQn interrupt configuration */
  HAL_NVIC_SetPriority(DMA1_Stream4_IRQn, 0, 0);
  HAL_NVIC_EnableIRQ(DMA1_Stream4_IRQn);

}

static void MX_GPIO_Init(void)
{
  GPIO_InitTypeDef GPIO_InitStruct = {0};

  /* GPIO Ports Clock Enable */
  __HAL_RCC_GPIOE_CLK_ENABLE();
  __HAL_RCC_GPIOH_CLK_ENABLE();
  __HAL_RCC_GPIOC_CLK_ENABLE();
  __HAL_RCC_GPIOB_CLK_ENABLE();
  __HAL_RCC_GPIOD_CLK_ENABLE();
  __HAL_RCC_GPIOA_CLK_ENABLE();

  /*Configure GPIO pin Output Level */
  HAL_GPIO_WritePin(GPIOE, CODEC_MFP5_Pin|CODEC_RESET_Pin, GPIO_PIN_RESET);

  /*Configure GPIO pin Output Level */
  HAL_GPIO_WritePin(GPIOD, GPIO_0_Pin|GPIO_1_Pin, GPIO_PIN_RESET);

  /*Configure GPIO pins : CODEC_MFP5_Pin CODEC_RESET_Pin */
  GPIO_InitStruct.Pin = CODEC_MFP5_Pin|CODEC_RESET_Pin;
  GPIO_InitStruct.Mode = GPIO_MODE_OUTPUT_PP;
  GPIO_InitStruct.Pull = GPIO_NOPULL;
  GPIO_InitStruct.Speed = GPIO_SPEED_FREQ_LOW;
  HAL_GPIO_Init(GPIOE, &GPIO_InitStruct);

  /*Configure GPIO pin : BOOT1_Pin */
  GPIO_InitStruct.Pin = BOOT1_Pin;
  GPIO_InitStruct.Mode = GPIO_MODE_INPUT;
  GPIO_InitStruct.Pull = GPIO_NOPULL;
  HAL_GPIO_Init(BOOT1_GPIO_Port, &GPIO_InitStruct);

  /*Configure GPIO pins : GPIO_0_Pin GPIO_1_Pin */
  GPIO_InitStruct.Pin = GPIO_0_Pin|GPIO_1_Pin;
  GPIO_InitStruct.Mode = GPIO_MODE_OUTPUT_PP;
  GPIO_InitStruct.Pull = GPIO_NOPULL;
  GPIO_InitStruct.Speed = GPIO_SPEED_FREQ_LOW;
  HAL_GPIO_Init(GPIOD, &GPIO_InitStruct);

  /*Configure GPIO pins : GPIO_2_Pin GPIO_3_Pin */
  GPIO_InitStruct.Pin = GPIO_2_Pin|GPIO_3_Pin;
  GPIO_InitStruct.Mode = GPIO_MODE_IT_FALLING;
  GPIO_InitStruct.Pull = GPIO_PULLUP;
  HAL_GPIO_Init(GPIOD, &GPIO_InitStruct);

  /* EXTI interrupt init*/
  HAL_NVIC_SetPriority(EXTI15_10_IRQn, 0, 0);
  HAL_NVIC_EnableIRQ(EXTI15_10_IRQn);

}

void Error_Handler(void)
{
  __disable_irq();
  while (1)
  {
  }
}

/************************ (C) COPYRIGHT STMicroelectronics *****END OF FILE****/
